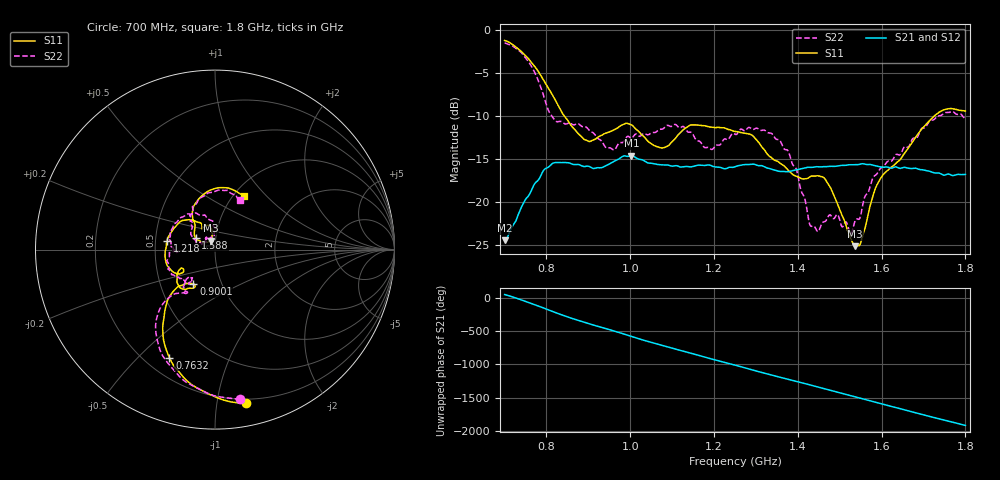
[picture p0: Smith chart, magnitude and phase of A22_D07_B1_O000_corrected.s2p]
! Created with skrf 1.9.0 (http://scikit-rf.org).
# Hz S RI R 50.0
!freq ReS11 ImS11 ReS21 ImS21 ReS12 ImS12 ReS22 ImS22
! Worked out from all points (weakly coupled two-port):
!   1601 points, 700 MHz to 1.8 GHz, reference 50 ohm
!   highest |S21| = -14.58 dB at 1.002 GHz (marker M1); lowest = -24.4 dB at 700 MHz (marker M2)
!   lowest |S11| = -25.1 dB at 1.537 GHz (marker M3), VSWR 1.12, Z = 47.5 + j4.81 ohm
!   |S11| at or under -10 dB: 842.9 MHz to 1.725 GHz (882.2 MHz wide, 68.7 % of centre)
!   |S22| runs from -23.7 to -1.5 dB; largest |S21 - S12| = 0.0035
!   S11 on the Smith chart (normalised r, x): 700 MHz: 0.17, -1.21; 763.2 MHz: 0.30, -0.62; 900.1 MHz: 0.73, -0.30; 1.218 GHz: 0.58, +0.06; 1.588 GHz: 0.80, +0.10; 1.8 GHz: 1.12, +0.75
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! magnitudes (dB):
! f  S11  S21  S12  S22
! 700 MHz  -1.2  -24.4  -24.2  -1.5
! 763.2 MHz  -3.7  -18.7  -18.7  -4.1
! 818.2 MHz  -7.9  -15.4  -15.5  -10.4
! 883.6 MHz  -12.4  -15.8  -15.7  -11.2
! 900.1 MHz  -12.9  -15.8  -15.8  -11.5
! 958.5 MHz  -11.7  -15.3  -15.3  -13.9
! 1.002 GHz  -11.0  -14.6  -14.7  -12.5
! 1.067 GHz  -13.6  -15.6  -15.6  -11.6
! 1.144 GHz  -11.0  -15.9  -15.9  -11.9
! 1.218 GHz  -11.3  -16.0  -16.0  -13.1
! 1.25 GHz  -11.8  -15.9  -15.8  -12.1
! 1.357 GHz  -15.5  -16.4  -16.4  -12.8
! 1.396 GHz  -17.0  -16.2  -16.2  -16.1
! 1.434 GHz  -17.0  -16.0  -15.9  -22.8
! 1.471 GHz  -17.8  -15.8  -15.8  -21.8
! 1.526 GHz  -24.2  -15.6  -15.6  -23.7
! 1.537 GHz  -25.1  -15.6  -15.6  -22.2
! 1.551 GHz  -24.5  -15.5  -15.6  -21.3
! 1.588 GHz  -18.1  -15.8  -15.8  -16.7
! 1.617 GHz  -16.2  -16.0  -15.9  -15.2
! 1.732 GHz  -9.7  -16.6  -16.6  -10.1
! 1.8 GHz  -9.4  -16.8  -16.8  -10.2
